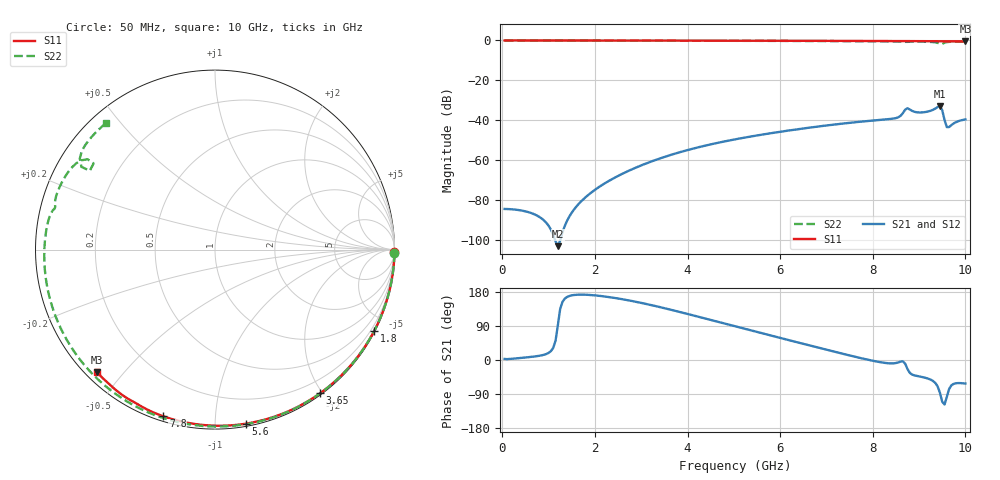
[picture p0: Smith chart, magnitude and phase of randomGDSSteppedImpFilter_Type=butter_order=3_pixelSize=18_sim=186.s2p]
! freq	dB(S11)	phase(S11)	dB(S12)	phase(S12)
!  dB(S21)	phase(S21)	dB(S22)	phase(S22)
!S-par simulation data
#  GHz  S  DB  R 50
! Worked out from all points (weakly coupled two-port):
!   200 points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, 50 MHz to 10 GHz, reference 50 ohm
!   highest |S21| = -33.03 dB at 9.45 GHz (marker M1); lowest = -103.2 dB at 1.2 GHz (marker M2)
!   lowest |S11| = -0.5 dB at 10 GHz (marker M3), VSWR 36.67, Z = 1.61 - j21.3 ohm
!   |S11| at or under -10 dB: nowhere
!   |S22| runs from -1.7 to 0.0 dB; largest |S21 - S12| = 0
!   S11 on the Smith chart (normalised r, x): 50 MHz: open; 1.8 GHz: 0.04, -4.14; 3.65 GHz: 0.02, -1.97; 5.6 GHz: 0.02, -1.19; 7.8 GHz: 0.02, -0.74; 10 GHz: 0.03, -0.43
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0.05  -0.00 -0.8  -84.55 2.7  -84.55 2.7  -0.00 -1.2
1.2  -0.02 -18.2  -103.23 91.6  -103.23 91.6  -0.03 -28.5
1.75  -0.03 -26.4  -79.68 172.4  -79.68 172.4  -0.05 -41.3
1.8  -0.03 -27.2  -78.63 172.2  -78.63 172.2  -0.05 -42.4
2.45  -0.05 -36.7  -68.58 163.3  -68.58 163.3  -0.07 -57.1
3.4  -0.07 -50.3  -59.24 139.7  -59.24 139.7  -0.10 -78.1
3.65  -0.07 -53.9  -57.35 132.3  -57.35 132.3  -0.11 -83.4
5.05  -0.11 -72.9  -49.52 88.1  -49.52 88.1  -0.17 -112.9
5.6  -0.13 -80.0  -47.28 70.7  -47.28 70.7  -0.21 -124.3
6.7  -0.18 -93.9  -43.55 36.5  -43.55 36.5  -0.29 -147.4
7.8  -0.24 -107.2  -40.62 3.3  -40.62 3.3  -0.40 -171.9
8.35  -0.29 -113.8  -39.46 -8.8  -39.46 -8.8  -0.47 174.6
8.55  -0.32 -116.1  -38.56 -6.5  -38.56 -6.5  -0.53 169.3
8.75  -0.33 -118.4  -34.03 -24.0  -34.03 -24.0  -0.71 165.0
8.9  -0.34 -120.2  -35.80 -40.7  -35.80 -40.7  -0.59 160.9
9.05  -0.34 -122.0  -36.12 -44.5  -36.12 -44.5  -0.61 156.4
9.35  -0.38 -125.7  -34.18 -60.4  -34.18 -60.4  -0.95 146.3
9.45  -0.40 -126.9  -33.03 -86.4  -33.03 -86.4  -1.62 144.6
9.5  -0.41 -127.5  -35.00 -110.4  -35.00 -110.4  -1.68 147.8
9.55  -0.42 -128.1  -39.98 -117.4  -39.98 -117.4  -1.15 148.2
9.6  -0.42 -128.7  -43.49 -96.8  -43.49 -96.8  -0.84 146.0
10  -0.47 -133.9  -39.59 -62.0  -39.59 -62.0  -0.63 130.8
